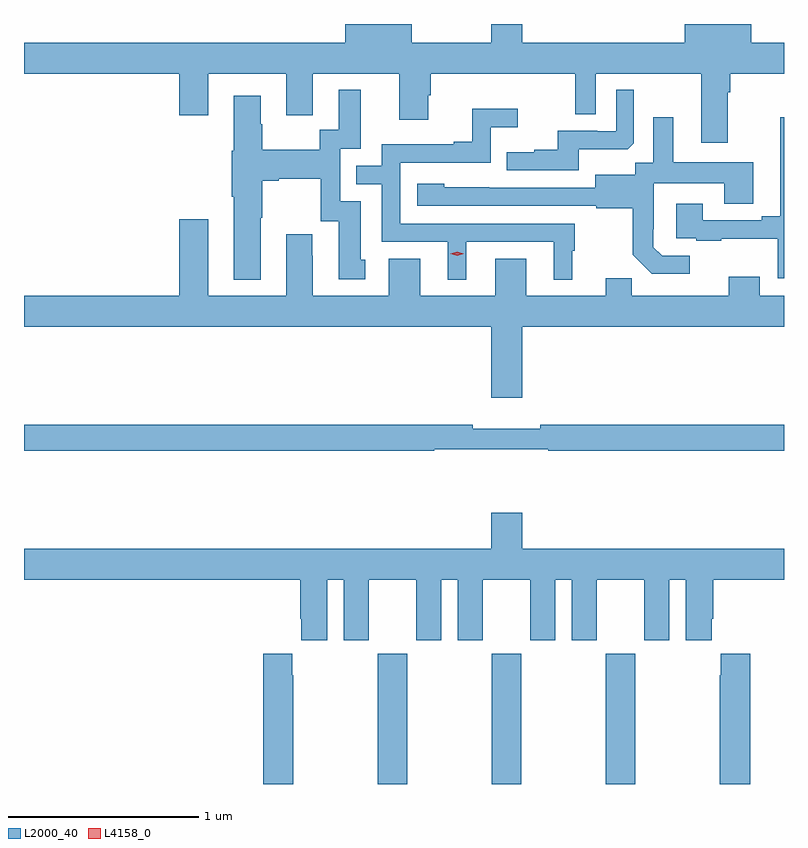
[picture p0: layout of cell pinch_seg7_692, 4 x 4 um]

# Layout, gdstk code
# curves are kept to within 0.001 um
import gdstk
lib = gdstk.Library(unit=1e-6, precision=1e-09)
def R(c, l, rs):  # rectangles x0, y0, x1, y1
    for r in rs: c.add(gdstk.rectangle(r[:2], r[2:], *l))
def A(c, l, x, y, w, h, nx, ny, dx, dy):  # array of equal rectangles
    R(c, l, [(x+i*dx, y+j*dy, x+i*dx+w, y+j*dy+h) for i in range(nx) for j in range(ny)])
def P(c, l, *ps):  # polygons
    for p in ps: c.add(gdstk.Polygon(p, *l))
L2000_40 = (2000, 40)
L4158_0 = (4158, 0)

pinch_seg7_692 = lib.new_cell('pinch_seg7_692')
A(pinch_seg7_692, L2000_40, 344.233, 1023.518, 0.155, 0.686, 3, 1, 0.6, 0)
P(pinch_seg7_692, L2000_40, [(342.37,1027.256),(343.187,1027.256),(343.187,1027.038),(343.339,1027.038),(343.339,1027.256),(343.751,1027.256),(343.751,1027.038),(343.891,1027.038),(343.891,1027.256),(344.345,1027.256),(344.345,1027.014),(344.497,1027.014),(344.497,1027.143),(344.51,1027.143),(344.51,1027.256),(345.27,1027.256),(345.27,1027.042),(345.378,1027.042),(345.378,1027.256),(345.935,1027.256),(345.935,1026.894),(346.075,1026.894),(346.075,1027.16),(346.088,1027.16),(346.088,1027.256),(346.37,1027.256),(346.37,1027.42),(346.198,1027.42),(346.198,1027.518),(345.848,1027.518),(345.848,1027.42),(344.992,1027.42),(344.992,1027.518),(344.828,1027.518),(344.828,1027.42),(344.41,1027.42),(344.41,1027.518),(344.06,1027.518),(344.06,1027.42),(342.37,1027.42)],
  [(345.289,1026.86),(345.547,1026.86),(345.579,1026.891),(345.579,1027.171),(345.486,1027.171),(345.486,1026.954),(345.386,1026.954),(345.386,1026.957),(345.179,1026.957),(345.179,1026.856),(345.055,1026.856),(345.055,1026.844),(344.911,1026.844),(344.911,1026.747),(345.289,1026.747)],
  [(343.615,1026.499),(343.623,1026.499),(343.623,1026.692),(343.711,1026.692),(343.711,1026.704),(343.931,1026.704),(343.931,1026.48),(344.027,1026.48),(344.027,1026.174),(344.167,1026.174),(344.167,1026.276),(344.143,1026.276),(344.143,1026.585),(344.034,1026.585),(344.034,1026.861),(344.143,1026.861),(344.143,1027.171),(344.027,1027.171),(344.027,1026.962),(343.926,1026.962),(343.926,1026.856),(343.623,1026.856),(343.623,1026.99),(343.615,1026.99),(343.615,1027.141),(343.475,1027.141),(343.475,1026.852),(343.463,1026.852),(343.463,1026.608),(343.475,1026.608),(343.475,1026.173),(343.615,1026.173)],
  [(344.698,1026.372),(345.158,1026.372),(345.158,1026.173),(345.256,1026.173),(345.256,1026.324),(345.268,1026.324),(345.268,1026.468),(344.349,1026.468),(344.349,1026.789),(344.826,1026.789),(344.826,1026.974),(344.968,1026.974),(344.968,1027.073),(344.728,1027.073),(344.728,1026.898),(344.633,1026.898),(344.633,1026.885),(344.253,1026.885),(344.253,1026.771),(344.119,1026.771),(344.119,1026.675),(344.253,1026.675),(344.253,1026.372),(344.6,1026.372),(344.6,1026.173),(344.698,1026.173)],
  [(346.37,1027.027),(346.349,1027.027),(346.349,1026.505),(346.253,1026.505),(346.253,1026.486),(345.943,1026.486),(345.943,1026.571),(345.803,1026.571),(345.803,1026.39),(345.907,1026.39),(345.907,1026.378),(346.039,1026.378),(346.039,1026.389),(346.338,1026.389),(346.338,1026.18),(346.37,1026.18)],
  [(345.874,1026.297),(345.729,1026.297),(345.682,1026.344),(345.682,1026.439),(345.684,1026.439),(345.684,1026.68),(346.055,1026.68),(346.055,1026.571),(346.207,1026.571),(346.207,1026.79),(345.787,1026.79),(345.787,1027.027),(345.683,1027.027),(345.683,1026.788),(345.588,1026.788),(345.588,1026.724),(345.377,1026.724),(345.377,1026.657),(344.583,1026.658),(344.583,1026.676),(344.439,1026.676),(344.439,1026.561),(345.381,1026.561),(345.381,1026.549),(345.573,1026.549),(345.573,1026.303),(345.673,1026.203),(345.874,1026.203)],
  [(344.992,1025.924),(346.37,1025.924),(346.37,1026.088),(346.243,1026.088),(346.243,1026.187),(346.079,1026.187),(346.079,1026.088),(345.569,1026.088),(345.569,1026.179),(345.431,1026.179),(345.431,1026.088),(345.013,1026.088),(345.013,1026.283),(344.849,1026.283),(344.849,1026.088),(344.455,1026.088),(344.455,1026.283),(344.291,1026.283),(344.291,1026.088),(343.891,1026.088),(343.891,1026.299),(343.888,1026.299),(343.888,1026.412),(343.751,1026.412),(343.751,1026.088),(343.339,1026.088),(343.339,1026.49),(343.187,1026.49),(343.187,1026.088),(342.37,1026.088),(342.37,1025.924),(344.828,1025.924),(344.828,1025.55),(344.992,1025.55)],
  [(344.53,1025.28),(345.13,1025.28),(345.13,1025.272),(346.37,1025.272),(346.37,1025.408),(345.088,1025.408),(345.088,1025.389),(344.732,1025.389),(344.732,1025.408),(342.37,1025.408),(342.37,1025.272),(344.53,1025.272)],
  [(343.966,1024.592),(344.054,1024.592),(344.054,1024.275),(344.185,1024.275),(344.185,1024.592),(344.435,1024.592),(344.435,1024.275),(344.566,1024.275),(344.566,1024.592),(344.654,1024.592),(344.654,1024.275),(344.785,1024.275),(344.785,1024.592),(345.035,1024.592),(345.035,1024.275),(345.166,1024.275),(345.166,1024.592),(345.254,1024.592),(345.254,1024.275),(345.385,1024.275),(345.385,1024.592),(345.635,1024.592),(345.635,1024.275),(345.766,1024.275),(345.766,1024.592),(345.854,1024.592),(345.854,1024.275),(345.991,1024.275),(345.991,1024.387),(345.998,1024.387),(345.998,1024.592),(346.37,1024.592),(346.37,1024.756),(344.992,1024.756),(344.992,1024.945),(344.828,1024.945),(344.828,1024.756),(342.37,1024.756),(342.37,1024.592),(343.823,1024.592),(343.823,1024.387),(343.829,1024.387),(343.829,1024.275),(343.966,1024.275)],
  [(346.193,1024.204),(346.037,1024.204),(346.037,1024.091),(346.033,1024.091),(346.033,1023.518),(346.193,1023.518)],
  [(343.788,1024.091),(343.783,1024.091),(343.783,1024.204),(343.628,1024.204),(343.628,1023.518),(343.788,1023.518)])
P(pinch_seg7_692, L4158_0, [(344.649,1026.299),(344.613,1026.308),(344.613,1026.309),(344.613,1026.309),(344.649,1026.319),(344.685,1026.309),(344.685,1026.309),(344.685,1026.308)])

lib.write_gds('pinch_seg7_692.gds')
